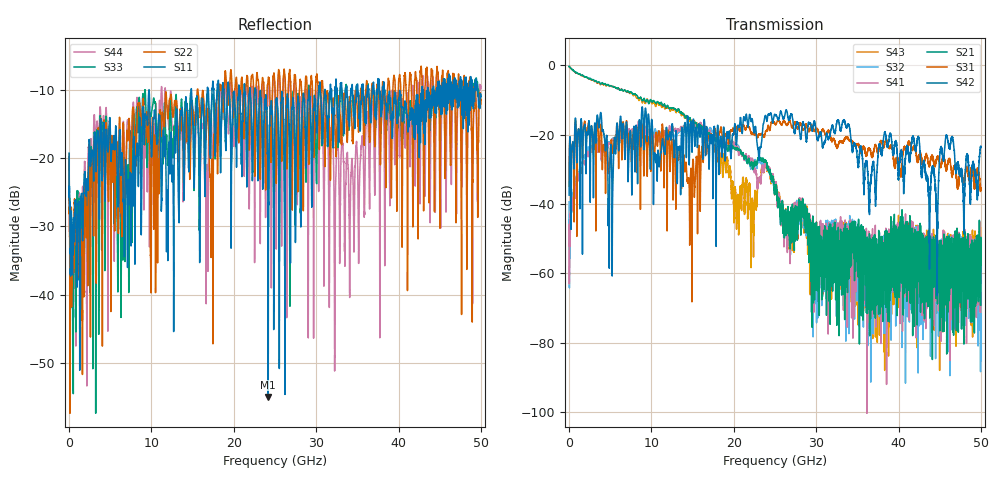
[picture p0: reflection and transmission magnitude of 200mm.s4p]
!Agilent Technologies,N5245A,MY51251349,A.09.33.09
!Agilent N5245A: A.09.33.09
!Date: Tuesday, September 29, 2020 13:12:08
!Correction: S11(Full 4 Port(1,2,3,4))
!S12(Full 4 Port(1,2,3,4))
!S13(Full 4 Port(1,2,3,4))
!S14(Full 4 Port(1,2,3,4))
!S21(Full 4 Port(1,2,3,4))
!S22(Full 4 Port(1,2,3,4))
!S23(Full 4 Port(1,2,3,4))
!S24(Full 4 Port(1,2,3,4))
!S31(Full 4 Port(1,2,3,4))
!S32(Full 4 Port(1,2,3,4))
!S33(Full 4 Port(1,2,3,4))
!S34(Full 4 Port(1,2,3,4))
!S41(Full 4 Port(1,2,3,4))
!S42(Full 4 Port(1,2,3,4))
!S43(Full 4 Port(1,2,3,4))
!S44(Full 4 Port(1,2,3,4))
!S4P File: Measurements: <S11,S12,S13,S14>,
!<S21,S22,S23,S24>,
!<S31,S32,S33,S34>,
!<S41,S42,S43,S44>:
# Hz S  dB  R 50
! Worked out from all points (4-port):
!   6401 points, 10 MHz to 50 GHz, reference 50 ohm
!   strongest paths, dB at 10 MHz, 12.51 GHz, 25 GHz, 37.5 GHz, 50 GHz:
!     S42: -37.5, -17.0, -14.3, -26.5, -23.5
!     S31: -34.8, -22.0, -16.8, -25.4, -35.9
!     S21: -0.3, -12.5, -36.6, -51.7, -57.6
!     S41: -47.6, -17.8, -36.0, -61.2, -71.2
!     S32: -39.4, -20.4, -36.5, -67.5, -52.9
!     S43: -0.4, -12.7, -35.9, -55.8, -60.6
!   lowest |S11| = -54.9 dB at 24.18 GHz (marker M1), VSWR 1.00, Z = 49.9 - j0.0979 ohm
!   |S11| at or under -10 dB: start of sweep to 14.83 GHz; 22.64 GHz to 30.3 GHz (7.655 GHz wide, 28.9 % of centre); 38.25 GHz to 42.85 GHz (4.601 GHz wide, 11.3 % of centre)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
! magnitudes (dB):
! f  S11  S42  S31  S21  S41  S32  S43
! 10 MHz  -19.3  -37.5  -34.8  -0.3  -47.6  -39.4  -0.4
! 8.61 GHz  -14.5  -16.8  -27.9  -9.5  -19.2  -19.8  -9.6
! 22.25 GHz  -23.3  -15.6  -19.5  -29.1  -26.8  -28.3  -39.8
! 24.18 GHz  -54.9  -14.2  -17.3  -30.0  -29.2  -29.7  -30.3
! 30.74 GHz  -17.0  -23.4  -18.6  -65.5  -51.1  -47.3  -51.3
! 44.63 GHz  -11.4  -42.0  -26.9  -52.2  -50.4  -62.3  -60.2
! 50 GHz  -11.0  -23.5  -35.9  -57.6  -71.2  -52.9  -60.6
